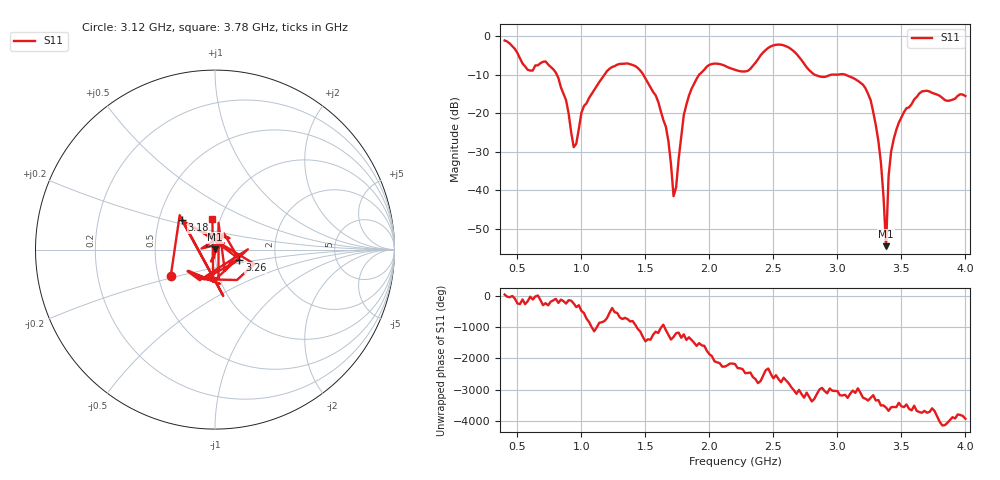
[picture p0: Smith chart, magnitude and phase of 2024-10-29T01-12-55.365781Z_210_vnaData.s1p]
!Created with skrf (http://scikit-rf.org).
# Hz S RI R 50.0
!freq ReS11 ImS11
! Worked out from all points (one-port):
!   181 points, 400 MHz to 4 GHz, reference 50 ohm
!   lowest |S11| = -54.4 dB at 3.38 GHz (marker M1), VSWR 1.00, Z = 50.2 + j0.079 ohm
!   |S11| at or under -10 dB: 807.3 MHz to 1.182 GHz (374.3 MHz wide, 37.6 % of centre); 1.483 GHz to 1.921 GHz (438.1 MHz wide, 25.7 % of centre); 3.056 GHz to end of sweep (the widest 3 of 4)
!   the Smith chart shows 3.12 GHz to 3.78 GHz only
!   S11 on the Smith chart (normalised r, x): 3.12 GHz: 0.58, -0.19; 3.18 GHz: 0.66, +0.23; 3.26 GHz: 1.30, -0.15; 3.78 GHz: 0.92, +0.33
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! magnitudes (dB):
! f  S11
! 400 MHz  -1.2
! 580 MHz  -8.8
! 720 MHz  -6.6
! 860 MHz  -15.0
! 940 MHz  -28.8
! 1.02 GHz  -18.1
! 1.3 GHz  -7.3
! 1.58 GHz  -15.4
! 1.66 GHz  -23.5
! 1.72 GHz  -41.5
! 1.76 GHz  -31.8
! 1.8 GHz  -20.5
! 1.92 GHz  -10.0
! 2.2 GHz  -8.8
! 2.5 GHz  -2.5
! 2.66 GHz  -4.0
! 2.82 GHz  -10.0
! 3.1 GHz  -10.6
! 3.12 GHz  -10.9
! 3.18 GHz  -12.1
! 3.26 GHz  -16.7
! 3.34 GHz  -32.8
! 3.38 GHz  -54.4
! 3.4 GHz  -36.3
! 3.42 GHz  -29.9
! 3.56 GHz  -18.5
! 3.78 GHz  -15.2
! 4 GHz  -15.6
